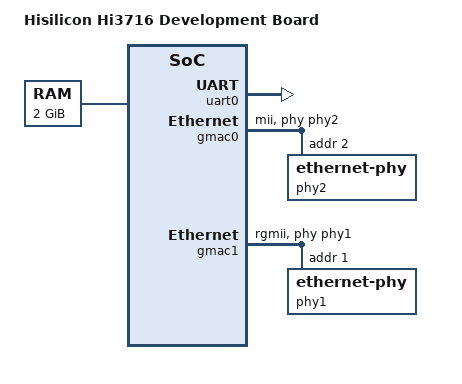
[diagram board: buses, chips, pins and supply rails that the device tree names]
/*
 * Copyright (c) 2013 Linaro Ltd.
 * Copyright (c) 2013 Hisilicon Limited.
 *
 *  This program is free software; you can redistribute it and/or modify
 *  it under the terms of the GNU General Public License version 2 as
 *  publishhed by the Free Software Foundation.
 */

/dts-v1/;
#include "hix5hd2.dtsi"

/ {
	model = "Hisilicon Hi3716 Development Board";
	compatible = "hisilicon,hi3716cv200";

	chosen {
		bootargs = "console=ttyAMA0,115200 root=/dev/nfs rw ip=192.168.1.100:192.168.1.1::255.255.255.0::eth0:off nfsroot=192.168.1.10:/rootfs";
		//bootargs = "console=ttyAMA0,115200";
	};

	cpus {
		#address-cells = <1>;
		#size-cells = <0>;

		cpu@0 {
			compatible = "arm,cortex-a9";
			device_type = "cpu";
			reg = <0>;
			next-level-cache = <&l2>;
		};

		cpu@1 {
			compatible = "arm,cortex-a9";
			device_type = "cpu";
			reg = <1>;
			next-level-cache = <&l2>;
		};
	};

	memory {
		device_type = "memory";
		reg = <0x00000000 0x80000000>;
	};

	soc {
		amba {
			timer0: timer@f8002000 {
				status = "okay";
			};

			uart0: uart@f8b00000 {
				status = "okay";
			};
		};

		gmac0: ethernet@f9840000 {
			#address-cells = <1>;
			#size-cells = <0>;
			phy-handle = <&phy2>;
			phy-mode = "mii";
			mac-address = [00 00 00 00 00 00];

			phy2: ethernet-phy@2 {
				reg = <2>;
			};
		};

		gmac1: ethernet@f9841000 {
			#address-cells = <1>;
			#size-cells = <0>;
			phy-handle = <&phy1>;
			phy-mode = "rgmii";
			mac-address = [00 00 00 00 00 00];

			phy1: ethernet-phy@1 {
				reg = <1>;
			};
                };

		ahci:sata@f9900000 {
                        phys = <&sata_phy>;
                        phy-names = "sata-phy";
                };

                sata_phy:phy@f9900000 {
                        compatible = "hisilicon,hix5hd2-sata-phy";
                        reg = <0xf9900000 0x10000>;
			hisilicon,syscon = <&peri_ctrl>;
			hisilicon,power-reg = <0x8 10>;
			hisilicon,reg-init = <0x148 0 32 0x345cb8>,<0x14c 0 32 0x20545>;
                        #phy-cells = <0>;
                };

	};
};
